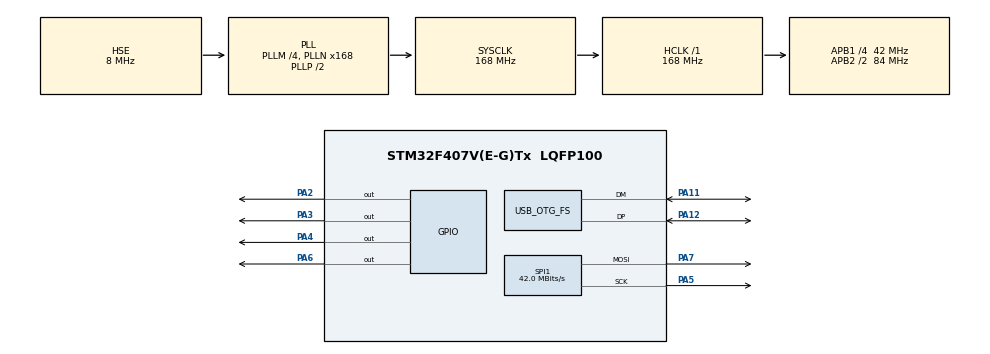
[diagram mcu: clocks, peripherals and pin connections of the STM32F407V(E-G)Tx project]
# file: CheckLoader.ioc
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Mcu.Family=STM32F4
Mcu.Name=STM32F407V(E-G)Tx
Mcu.Package=LQFP100
NVIC.OTG_FS_IRQn=true\:0\:0\:false\:false\:true\:false\:true\:true
NVIC.PriorityGroup=NVIC_PRIORITYGROUP_4
PA11.Mode=Device_Only
PA11.Signal=USB_OTG_FS_DM
PA12.Mode=Device_Only
PA12.Signal=USB_OTG_FS_DP
PA2.GPIO_Speed=GPIO_SPEED_FREQ_HIGH
PA2.Signal=GPIO_Output
PA3.GPIO_Speed=GPIO_SPEED_FREQ_HIGH
PA3.Signal=GPIO_Output
PA4.GPIO_Speed=GPIO_SPEED_FREQ_HIGH
PA4.Signal=GPIO_Output
PA5.Mode=TX_Only_Simplex_Unidirect_Master
PA5.Signal=SPI1_SCK
PA6.Signal=GPIO_Output
PA7.Mode=TX_Only_Simplex_Unidirect_Master
PA7.Signal=SPI1_MOSI
PC14-OSC32_IN.Mode=LSE-External-Oscillator
PC14-OSC32_IN.Signal=RCC_OSC32_IN
PC15-OSC32_OUT.Mode=LSE-External-Oscillator
PC15-OSC32_OUT.Signal=RCC_OSC32_OUT
PH0-OSC_IN.Mode=HSE-External-Oscillator
PH0-OSC_IN.Signal=RCC_OSC_IN
PH1-OSC_OUT.Mode=HSE-External-Oscillator
PH1-OSC_OUT.Signal=RCC_OSC_OUT
ProjectManager.HeapSize=0x200
ProjectManager.StackSize=0x400
ProjectManager.TargetToolchain=STM32CubeIDE
RCC.48MHZClocksFreq_Value=48000000
RCC.AHBFreq_Value=168000000
RCC.APB1CLKDivider=RCC_HCLK_DIV4
RCC.APB1Freq_Value=42000000
RCC.APB1TimFreq_Value=84000000
RCC.APB2CLKDivider=RCC_HCLK_DIV2
RCC.APB2Freq_Value=84000000
RCC.APB2TimFreq_Value=168000000
RCC.CortexFreq_Value=168000000
RCC.HCLKFreq_Value=168000000
RCC.HSE_VALUE=8000000
RCC.HSI_VALUE=16000000
RCC.PLLM=4
RCC.PLLN=168
RCC.PLLQ=7
RCC.SYSCLKFreq_VALUE=168000000
RCC.SYSCLKSource=RCC_SYSCLKSOURCE_PLLCLK
RCC.VCOOutputFreq_Value=336000000
SPI1.BaudRatePrescaler=SPI_BAUDRATEPRESCALER_2
SPI1.CalculateBaudRate=42.0 MBits/s
SPI1.Direction=SPI_DIRECTION_2LINES
SPI1.Mode=SPI_MODE_MASTER
SPI1.VirtualType=VM_MASTER
USB_DEVICE.CLASS_NAME_FS=CDC
USB_DEVICE.VirtualMode-CDC_FS=Cdc
USB_DEVICE.VirtualModeFS=Cdc_FS
USB_OTG_FS.VirtualMode=Device_Only
VP_USB_DEVICE_VS_USB_DEVICE_CDC_FS.Mode=CDC_FS
board=custom

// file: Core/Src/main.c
/* USER CODE BEGIN Header */
/**
  ******************************************************************************
  * @file           : main.c
  * @brief          : Main program body
  ******************************************************************************
  * @attention
  *
  * Copyright (c) 2022 STMicroelectronics.
  * All rights reserved.
  *
  * This software is licensed under terms that can be found in the LICENSE file
  * in the root directory of this software component.
  * If no LICENSE file comes with this software, it is provided AS-IS.
  *
  ******************************************************************************
  */
/* USER CODE END Header */
#include "main.h"
#include "usb_device.h"

/* USER CODE BEGIN Includes */

#include "usbd_cdc_if.h"

#include "bootspl.h"

#include "err.h"

#include "upm.h"

/* USER CODE END Includes */

 SPI_HandleTypeDef hspi1;

void SystemClock_Config(void);
static void MX_GPIO_Init(void);
static void MX_SPI1_Init(void);

/* USER CODE BEGIN 0 */

uint16_t floffset;

uint8_t buffer[64];

extern USBD_HandleTypeDef hUsbDeviceFS;

uint32_t readWord(uint32_t address){
	uint32_t read_data;
	read_data = *(uint32_t*)(address);
	return read_data;
}

uint16_t TFT9341_WIDTH;
uint16_t TFT9341_HEIGHT;

void TFT9341_SendCommand(uint8_t cmd)
{
  DC_COMMAND();
  HAL_SPI_Transmit(&hspi1, &cmd, 1, 0);
}

void TFT9341_SendData(uint8_t dt)
{
	DC_DATA();
	HAL_SPI_Transmit (&hspi1, &dt, 1, 0);
}

static void TFT9341_WriteData(uint8_t* buff, size_t buff_size) {
	DC_DATA();
	while(buff_size > 0) {
		uint16_t chunk_size = buff_size > 32768 ? 32768 : buff_size;
		HAL_SPI_Transmit(&hspi1, buff, chunk_size, 0);
		buff += chunk_size;
		buff_size -= chunk_size;
	}
}

void TFT9341_reset(void)
{
	RESET_ACTIVE();
	HAL_Delay(5);
	RESET_IDLE();
}

static void TFT9341_SetAddrWindow(uint16_t x0, uint16_t y0, uint16_t x1, uint16_t y1)
{
	TFT9341_SendCommand(0x2A);
	TFT9341_SendData(x0>>8);
	TFT9341_SendData(x0);
	TFT9341_SendData(x1>>8);
	TFT9341_SendData(x1);
	TFT9341_SendCommand(0x2B);
	TFT9341_SendData(y0>>8);
	TFT9341_SendData(y0);
	TFT9341_SendData(y1>>8);
	TFT9341_SendData(y1);
	TFT9341_SendCommand(0x2C);
}

void TFT9341_FillRect(uint16_t x1, uint16_t y1, uint16_t x2, uint16_t y2, uint16_t color)
{
  if((x1 >= TFT9341_WIDTH) || (y1 >= TFT9341_HEIGHT) || (x2 >= TFT9341_WIDTH) || (y2 >= TFT9341_HEIGHT)) return;
	if(x1>x2) swap(x1,x2);
	if(y1>y2) swap(y1,y2);
  TFT9341_SetAddrWindow(x1, y1, x2, y2);
  uint8_t data[] = { color >> 8, color & 0xFF };
  DC_DATA();
  for(uint32_t i = 0; i < (x2-x1+1)*(y2-y1+1); i++)
  {
	  HAL_SPI_Transmit(&hspi1, data, 2 ,0);
  }
}

void TFT9341_ini(uint16_t w_size, uint16_t h_size){
	uint8_t data[15];
	CS_ACTIVE();
	TFT9341_reset();
	TFT9341_SendCommand(0x01);
	HAL_Delay(1000);
	 HAL_Delay(1000);
	  //Power Control A
	  data[0] = 0x39;
	  data[1] = 0x2C;
	  data[2] = 0x00;
	  data[3] = 0x34;
	  data[4] = 0x02;
	  TFT9341_SendCommand(0xCB);
	  TFT9341_WriteData(data, 5);
	  //Power Control B
	  data[0] = 0x00;
	  data[1] = 0xC1;
	  data[2] = 0x30;
	  TFT9341_SendCommand(0xCF);
	  TFT9341_WriteData(data, 3);
	  //Driver timing control A
	  data[0] = 0x85;
	  data[1] = 0x00;
	  data[2] = 0x78;
	  TFT9341_SendCommand(0xE8);
	  TFT9341_WriteData(data, 3);
	  //Driver timing control B
	  data[0] = 0x00;
	  data[1] = 0x00;
	  TFT9341_SendCommand(0xEA);
	  TFT9341_WriteData(data, 2);
	  //Power on Sequence control
	  data[0] = 0x64;
	  data[1] = 0x03;
	  data[2] = 0x12;
	  data[3] = 0x81;
	  TFT9341_SendCommand(0xED);
	  TFT9341_WriteData(data, 4);
	  //Pump ratio control
	  data[0] = 0x20;
	  TFT9341_SendCommand(0xF7);
	  TFT9341_WriteData(data, 1);
	  //Power Control,VRH[5:0]
	  data[0] = 0x10;
	  TFT9341_SendCommand(0xC0);
	  TFT9341_WriteData(data, 1);
	  //Power Control,SAP[2:0];BT[3:0]
	  data[0] = 0x10;
	  TFT9341_SendCommand(0xC1);
	  TFT9341_WriteData(data, 1);
	  //VCOM Control 1
	  data[0] = 0x3E;
	  data[1] = 0x28;
	  TFT9341_SendCommand(0xC5);
	  TFT9341_WriteData(data, 2);
	  //VCOM Control 2
	  data[0] = 0x86;
	  TFT9341_SendCommand(0xC7);
	  TFT9341_WriteData(data, 1);
	  //Memory Acsess Control
	  data[0] = 0x48;
	  TFT9341_SendCommand(0x36);
	  TFT9341_WriteData(data, 1);
	  //Pixel Format Set
	  data[0] = 0x55;//16bit
	  TFT9341_SendCommand(0x3A);
	  TFT9341_WriteData(data, 1);
	  //Frame Rratio Control, Standard RGB Color
	  data[0] = 0x00;
	  data[1] = 0x18;
	  TFT9341_SendCommand(0xB1);
	  TFT9341_WriteData(data, 2);
	  //Display Function Control
	  data[0] = 0x08;
	  data[1] = 0x82;
	  data[2] = 0x27;//320 строк
	  TFT9341_SendCommand(0xB6);
	  TFT9341_WriteData(data, 3);
	  //Enable 3G (пока не знаю что это за режим)
	  data[0] = 0x00;//не включаем
	  TFT9341_SendCommand(0xF2);
	  TFT9341_WriteData(data, 1);
	  //Gamma set
	  data[0] = 0x01;//Gamma Curve (G2.2) (Кривая цветовой гаммы)
	  TFT9341_SendCommand(0x26);
	  TFT9341_WriteData(data, 1);
	  //Positive Gamma  Correction
	  data[0] = 0x0F;
	  data[1] = 0x31;
	  data[2] = 0x2B;
	  data[3] = 0x0C;
	  data[4] = 0x0E;
	  data[5] = 0x08;
	  data[6] = 0x4E;
	  data[7] = 0xF1;
	  data[8] = 0x37;
	  data[9] = 0x07;
	  data[10] = 0x10;
	  data[11] = 0x03;
	  data[12] = 0x0E;
	  data[13] = 0x09;
	  data[14] = 0x00;
	  TFT9341_SendCommand(0xE0);
	  TFT9341_WriteData(data, 15);
	  //Negative Gamma  Correction
	  data[0] = 0x00;
	  data[1] = 0x0E;
	  data[2] = 0x14;
	  data[3] = 0x03;
	  data[4] = 0x11;
	  data[5] = 0x07;
	  data[6] = 0x31;
	  data[7] = 0xC1;
	  data[8] = 0x48;
	  data[9] = 0x08;
	  data[10] = 0x0F;
	  data[11] = 0x0C;
	  data[12] = 0x31;
	  data[13] = 0x36;
	  data[14] = 0x0F;
	  TFT9341_SendCommand(0xE1);
	  TFT9341_WriteData(data, 15);
	  TFT9341_SendCommand(0x11);//Выйдем из спящего режима
	  HAL_Delay(120);
	  data[0] = TFT9341_ROTATION;
	  TFT9341_SendCommand(0x29);
	  TFT9341_WriteData(data, 1);
	  TFT9341_WriteData(data, 1);
	  TFT9341_WIDTH = w_size;
	  TFT9341_HEIGHT = h_size;
}

void TFT9341_FillScreen(uint16_t color)
{
  TFT9341_FillRect(0, 0, TFT9341_WIDTH-1, TFT9341_HEIGHT-1, color);
}

void TFT9341_DrawPixel(uint16_t x, uint16_t y, uint16_t color){
	TFT9341_SendCommand(0x2A);
	TFT9341_SendData(x>>8);
	TFT9341_SendData(x);
	TFT9341_SendCommand(0x2B);
	TFT9341_SendData(y>>8);
	TFT9341_SendData(y);
	TFT9341_SendCommand(0x2C);
	TFT9341_SendCommand(0x2C);
	TFT9341_SendData(color>>8);
	TFT9341_SendData(color & 0xFF);
}

void TFT9341_DrawMassive(uint16_t *mimage, uint16_t orientation){
	uint16_t currcolnum = 0;
	uint16_t x = 0;
	for(uint16_t y = 0; y != TFT9341_HEIGHT;y++){
		for(; x != TFT9341_HEIGHT;x++){
			switch(orientation){
			case 0:
				TFT9341_DrawPixel(TFT9341_WIDTH-x, y, mimage[currcolnum]);
				break;
			case 1:
				TFT9341_DrawPixel(y, x, mimage[currcolnum]);
				break;
			case 2:
				TFT9341_DrawPixel(TFT9341_WIDTH-y, TFT9341_HEIGHT-x, mimage[currcolnum]);
				break;
			case 3:
				TFT9341_DrawPixel(x, TFT9341_HEIGHT-y, mimage[currcolnum]);
				break;
			}
			currcolnum++;
		}
		x = 0;
	}
}

uint16_t checkmem(){
	uint8_t emptyCellCount = 0;
	for(uint8_t i=0; i<10; i++){
		if(readWord(AppStart + (i*4)) == -1)
			emptyCellCount++;
	}
	if(emptyCellCount != 10)
		return 1;
	else
		return 0;
}

typedef void (application_t)(void);

typedef struct{
    uint32_t		stack_addr;     // Stack Pointer
    application_t*	func_p;        // Program Counter
} JumpStruct;

void deinitEverything()
{
	//-- reset peripherals to guarantee flawless start of user application
	HAL_GPIO_DeInit(GPIOA, GPIO_PIN_4);
	HAL_GPIO_DeInit(GPIOA, GPIO_PIN_2);
	HAL_GPIO_DeInit(GPIOA, GPIO_PIN_3);
	HAL_GPIO_DeInit(GPIOA, GPIO_PIN_7);
	HAL_GPIO_DeInit(GPIOA, GPIO_PIN_5);
	HAL_SPI_DeInit(&hspi1);
	USBD_DeInit(&hUsbDeviceFS);
	  __HAL_RCC_GPIOC_CLK_DISABLE();
	  __HAL_RCC_GPIOD_CLK_DISABLE();
	  __HAL_RCC_GPIOB_CLK_DISABLE();
	  __HAL_RCC_GPIOA_CLK_DISABLE();
	HAL_RCC_DeInit();
	HAL_DeInit();
	SysTick->CTRL = 0;
	SysTick->LOAD = 0;
	SysTick->VAL = 0;
}

void jumpToApp(const uint32_t address){
	const JumpStruct* vector_p = (JumpStruct*)address;
	deinitEverything();
    asm("msr msp, %0; bx %1;" : : "r"(vector_p->stack_addr), "r"(vector_p->func_p));
}

/* USER CODE END 0 */

int main(void)
{

  /* MCU Configuration--------------------------------------------------------*/

  /* Reset of all peripherals, Initializes the Flash interface and the Systick. */
  HAL_Init();

  /* Configure the system clock */
  SystemClock_Config();

  /* Initialize all configured peripherals */
  MX_GPIO_Init();
  MX_SPI1_Init();
  MX_USB_DEVICE_Init();
  /* USER CODE BEGIN 2 */

  TFT9341_ini(128, 128);

  TFT9341_DrawMassive(bootsplash, 1);

  HAL_GPIO_WritePin(GPIOA, GPIO_PIN_6, GPIO_PIN_SET);

  HAL_Delay(1000);

  uint16_t check = checkmem();

  if(hUsbDeviceFS.dev_state == USBD_STATE_CONFIGURED){
	  check = 0;
  }

  if(check == 1){
	  TFT9341_reset();
	  jumpToApp(AppStart);
  }else{
	  HAL_FLASH_Unlock();
	  HAL_FLASH_OB_Unlock();
	  if(hUsbDeviceFS.dev_state == USBD_STATE_CONFIGURED){
		  TFT9341_DrawMassive(uploadimage, 1);
	  }else{
		  TFT9341_DrawMassive(errscreen, 1);
	  }
  }

  uint8_t single_ = 0;

  /* USER CODE END 2 */

  /* Infinite loop */
  /* USER CODE BEGIN WHILE */
  while (1){
	  if(hUsbDeviceFS.dev_state == USBD_STATE_CONFIGURED && single_ == 0){
		  TFT9341_DrawMassive(uploadimage, 1);
		  single_ = 1;
	  }
    /* USER CODE END WHILE */

  }
}

void SystemClock_Config(void)
{
  RCC_OscInitTypeDef RCC_OscInitStruct = {0};
  RCC_ClkInitTypeDef RCC_ClkInitStruct = {0};

  /** Configure the main internal regulator output voltage
  */
  __HAL_RCC_PWR_CLK_ENABLE();
  __HAL_PWR_VOLTAGESCALING_CONFIG(PWR_REGULATOR_VOLTAGE_SCALE1);

  /** Initializes the RCC Oscillators according to the specified parameters
  * in the RCC_OscInitTypeDef structure.
  */
  RCC_OscInitStruct.OscillatorType = RCC_OSCILLATORTYPE_HSE;
  RCC_OscInitStruct.HSEState = RCC_HSE_ON;
  RCC_OscInitStruct.PLL.PLLState = RCC_PLL_ON;
  RCC_OscInitStruct.PLL.PLLSource = RCC_PLLSOURCE_HSE;
  RCC_OscInitStruct.PLL.PLLM = 4;
  RCC_OscInitStruct.PLL.PLLN = 168;
  RCC_OscInitStruct.PLL.PLLP = RCC_PLLP_DIV2;
  RCC_OscInitStruct.PLL.PLLQ = 7;
  if (HAL_RCC_OscConfig(&RCC_OscInitStruct) != HAL_OK)
  {
    Error_Handler();
  }

  /** Initializes the CPU, AHB and APB buses clocks
  */
  RCC_ClkInitStruct.ClockType = RCC_CLOCKTYPE_HCLK|RCC_CLOCKTYPE_SYSCLK
                              |RCC_CLOCKTYPE_PCLK1|RCC_CLOCKTYPE_PCLK2;
  RCC_ClkInitStruct.SYSCLKSource = RCC_SYSCLKSOURCE_PLLCLK;
  RCC_ClkInitStruct.AHBCLKDivider = RCC_SYSCLK_DIV1;
  RCC_ClkInitStruct.APB1CLKDivider = RCC_HCLK_DIV4;
  RCC_ClkInitStruct.APB2CLKDivider = RCC_HCLK_DIV2;

  if (HAL_RCC_ClockConfig(&RCC_ClkInitStruct, FLASH_LATENCY_5) != HAL_OK)
  {
    Error_Handler();
  }
}

static void MX_SPI1_Init(void)
{

  /* SPI1 parameter configuration*/
  hspi1.Instance = SPI1;
  hspi1.Init.Mode = SPI_MODE_MASTER;
  hspi1.Init.Direction = SPI_DIRECTION_2LINES;
  hspi1.Init.DataSize = SPI_DATASIZE_8BIT;
  hspi1.Init.CLKPolarity = SPI_POLARITY_LOW;
  hspi1.Init.CLKPhase = SPI_PHASE_1EDGE;
  hspi1.Init.NSS = SPI_NSS_SOFT;
  hspi1.Init.BaudRatePrescaler = SPI_BAUDRATEPRESCALER_2;
  hspi1.Init.FirstBit = SPI_FIRSTBIT_MSB;
  hspi1.Init.TIMode = SPI_TIMODE_DISABLE;
  hspi1.Init.CRCCalculation = SPI_CRCCALCULATION_DISABLE;
  hspi1.Init.CRCPolynomial = 10;
  if (HAL_SPI_Init(&hspi1) != HAL_OK)
  {
    Error_Handler();
  }

}

static void MX_GPIO_Init(void)
{
  GPIO_InitTypeDef GPIO_InitStruct = {0};

  /* GPIO Ports Clock Enable */
  __HAL_RCC_GPIOC_CLK_ENABLE();
  __HAL_RCC_GPIOH_CLK_ENABLE();
  __HAL_RCC_GPIOA_CLK_ENABLE();

  /*Configure GPIO pin Output Level */
  HAL_GPIO_WritePin(GPIOA, GPIO_PIN_2|GPIO_PIN_3|GPIO_PIN_4|GPIO_PIN_6, GPIO_PIN_RESET);

  /*Configure GPIO pins : PA2 PA3 PA4 */
  GPIO_InitStruct.Pin = GPIO_PIN_2|GPIO_PIN_3|GPIO_PIN_4;
  GPIO_InitStruct.Mode = GPIO_MODE_OUTPUT_PP;
  GPIO_InitStruct.Pull = GPIO_NOPULL;
  GPIO_InitStruct.Speed = GPIO_SPEED_FREQ_HIGH;
  HAL_GPIO_Init(GPIOA, &GPIO_InitStruct);

  /*Configure GPIO pin : PA6 */
  GPIO_InitStruct.Pin = GPIO_PIN_6;
  GPIO_InitStruct.Mode = GPIO_MODE_OUTPUT_PP;
  GPIO_InitStruct.Pull = GPIO_NOPULL;
  GPIO_InitStruct.Speed = GPIO_SPEED_FREQ_LOW;
  HAL_GPIO_Init(GPIOA, &GPIO_InitStruct);

}

void Error_Handler(void)
{
  __disable_irq();
  while (1)
  {
  }
}
